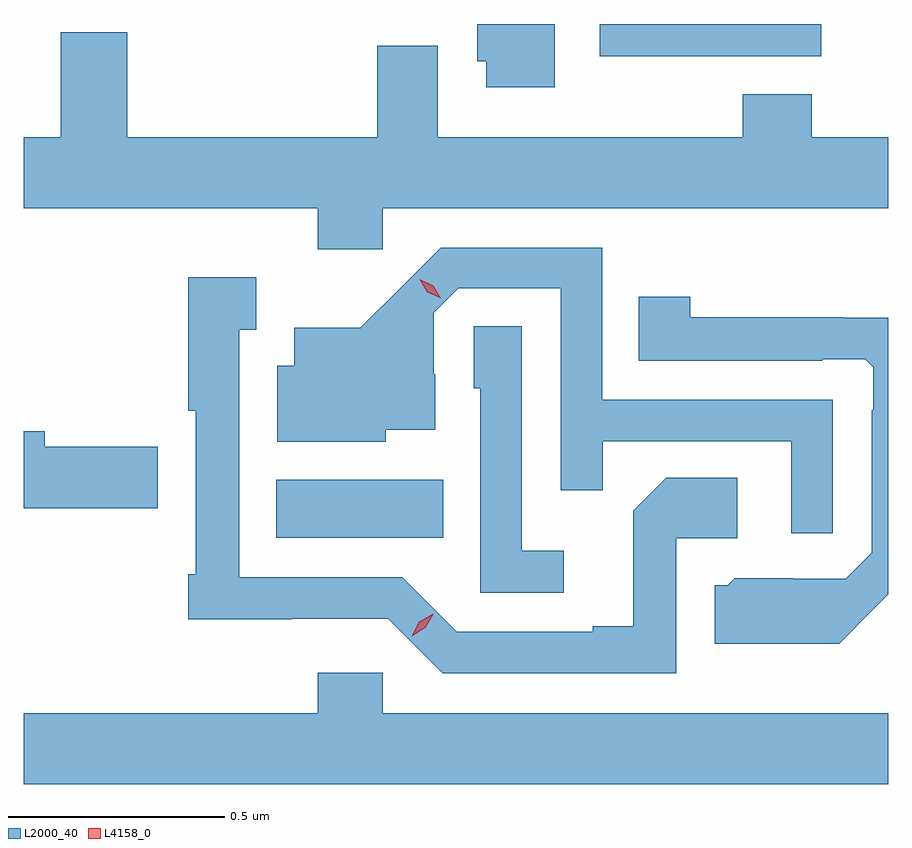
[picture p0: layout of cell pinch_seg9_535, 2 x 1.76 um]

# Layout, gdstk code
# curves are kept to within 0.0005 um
import gdstk
lib = gdstk.Library(unit=1e-6, precision=1e-09)
def R(c, l, rs):  # rectangles x0, y0, x1, y1
    for r in rs: c.add(gdstk.rectangle(r[:2], r[2:], *l))
def P(c, l, *ps):  # polygons
    for p in ps: c.add(gdstk.Polygon(p, *l))
L2000_40 = (2000, 40)
L4158_0 = (4158, 0)

pinch_seg9_535 = lib.new_cell('pinch_seg9_535')
R(pinch_seg9_535, L2000_40, [(268.793,1185.002,269.18,1185.136), (269.541,1186.115,270.054,1186.19)])
P(pinch_seg9_535, L2000_40, [(269.437,1186.19),(269.258,1186.19),(269.258,1186.104),(269.279,1186.104),(269.279,1186.044),(269.437,1186.044)],
  [(270.209,1185.928),(270.032,1185.928),(270.032,1186.027),(269.872,1186.027),(269.872,1185.928),(269.167,1185.928),(269.167,1186.14),(269.027,1186.14),(269.027,1185.928),(268.448,1185.928),(268.448,1186.171),(268.295,1186.171),(268.295,1185.928),(268.209,1185.928),(268.209,1185.764),(268.889,1185.764),(268.889,1185.669),(269.04,1185.669),(269.04,1185.764),(270.209,1185.764)],
  [(270.081,1185.321),(269.547,1185.321),(269.547,1185.672),(269.174,1185.672),(268.987,1185.487),(268.835,1185.487),(268.835,1185.4),(268.796,1185.4),(268.796,1185.224),(269.046,1185.224),(269.046,1185.251),(269.161,1185.251),(269.161,1185.38),(269.157,1185.38),(269.157,1185.522),(269.214,1185.579),(269.451,1185.579),(269.451,1185.112),(269.549,1185.112),(269.549,1185.225),(269.985,1185.225),(269.985,1185.012),(270.081,1185.012)],
  [(269.718,1185),(269.86,1185),(269.86,1185.14),(269.695,1185.14),(269.619,1185.064),(269.619,1184.797),(269.525,1184.797),(269.525,1184.784),(269.211,1184.784),(269.085,1184.91),(268.708,1184.91),(268.708,1185.483),(268.747,1185.483),(268.747,1185.604),(268.59,1185.604),(268.59,1185.295),(268.607,1185.295),(268.607,1184.917),(268.59,1184.917),(268.59,1184.813),(268.83,1184.813),(268.83,1184.814),(269.052,1184.814),(269.178,1184.688),(269.718,1184.688)],
  [(270.175,1184.837),(270.209,1184.871),(270.209,1185.51),(270.208,1185.511),(270.107,1185.511),(270.107,1185.512),(269.751,1185.512),(269.751,1185.559),(269.632,1185.559),(269.632,1185.411),(270.056,1185.411),(270.056,1185.414),(270.156,1185.414),(270.174,1185.396),(270.174,1185.296),(270.171,1185.296),(270.171,1184.967),(270.111,1184.907),(269.988,1184.907),(269.988,1184.908),(269.854,1184.908),(269.838,1184.892),(269.807,1184.892),(269.807,1184.756),(270.095,1184.756)],
  [(269.458,1184.971),(269.361,1184.971),(269.361,1185.491),(269.25,1185.491),(269.25,1185.348),(269.265,1185.348),(269.265,1184.874),(269.458,1184.874)],
  [(268.519,1185.212),(268.258,1185.212),(268.258,1185.248),(268.209,1185.248),(268.209,1185.07),(268.519,1185.07)],
  [(270.209,1184.596),(269.04,1184.596),(269.04,1184.689),(268.889,1184.689),(268.889,1184.596),(268.209,1184.596),(268.209,1184.432),(270.209,1184.432)])
P(pinch_seg9_535, L4158_0, [(269.174,1185.556),(269.143,1185.57),(269.125,1185.6),(269.125,1185.6),(269.125,1185.6),(269.156,1185.585),(269.174,1185.556),(269.174,1185.556)],
  [(269.107,1184.774),(269.107,1184.774),(269.124,1184.807),(269.156,1184.826),(269.156,1184.826),(269.156,1184.825),(269.138,1184.793),(269.107,1184.774)])

lib.write_gds('pinch_seg9_535.gds')
